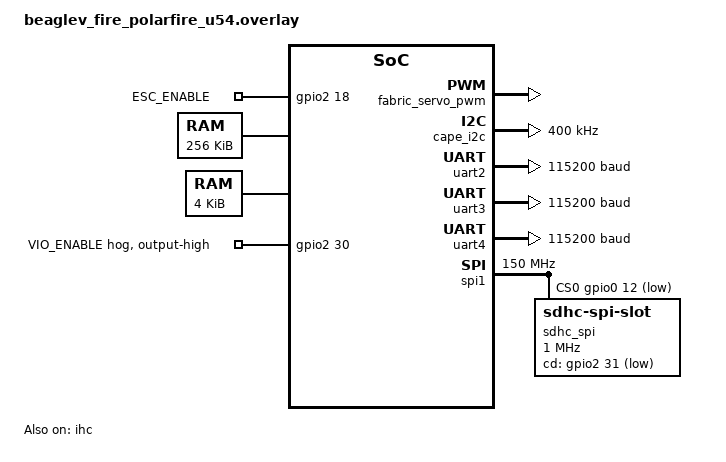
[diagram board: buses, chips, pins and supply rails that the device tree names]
/ {
	chosen {
		zephyr,console = &uart4;

		zephyr,ipc = &ihcc_h4_h1;
		zephyr,ipc_shm = &vdev0buffer;
		zephyr,ipc-rsc-table = &rsc_table_region;
	};

	aliases {
		ardupilot-serial0 = &uart2;
		ardupilot-rcinput = &uart3;
		ardupilot-gpio0 = &gpio0;
		ardupilot-gpio2 = &gpio2;
		ardupilot-i2c0 = &cape_i2c;
		ardupilot-spi1 = &spi1;
		ardupilot-pwm0 = &fabric_servo_pwm;
		ardupilot-esc-enable = &esc_enable_pin;
		sdhc0 = &sdhc_spi;
	};

	fabric_servo_pwm: servo-pwm@41000000 {
		compatible = "beaglev-fire,fabric-servo-pwm";
		reg = <0x41000000 0x20>;
		#pwm-cells = <2>;
		status = "okay";
	};

	cape_i2c: i2c@41600000 {
		compatible = "ardupilot,mpfs-corei2c";
		reg = <0x41600000 0x1000>;
		interrupt-parent = <&plic>;
		interrupts = <150 1>;        /* fabric F2M[32] -> PLIC 118+32 */
		clock-frequency = <400000>;  /* FAST -> BCLK_DIV_8 */
		#address-cells = <1>;
		#size-cells = <0>;
		status = "okay";
	};

	esc_enable_keys: esc-enable-keys {
		compatible = "gpio-keys";
		esc_enable_pin: esc_enable_pin {
			gpios = <&gpio2 18 GPIO_ACTIVE_HIGH>;
			label = "ESC_ENABLE";
		};
	};
};

&i2c0 {
	status = "disabled";
};

&i2c1 {
	status = "disabled";
};

&gpio0 {
	status = "okay";
	ngpios = <14>;
};

&gpio1 {
	status = "disabled";
};

&gpio2 {
	status = "okay";
	ngpios = <32>;

	vio_enable: vio_enable {
		gpio-hog;
		gpios = <30 GPIO_ACTIVE_HIGH>;
		output-high;
		line-name = "VIO_ENABLE";
	};
};

&uart1 {
	status = "disabled";
};

&uart2 {
	status = "okay";
	clock-frequency = <150000000>;
	current-speed = <115200>;
};

&uart3 {
	status = "okay";
	clock-frequency = <150000000>;
	current-speed = <115200>;
};

&uart4 {
	status = "okay";
	clock-frequency = <150000000>;
	current-speed = <115200>;
};

&uart0 {
	status = "disabled";
};

&spi1 {
	/* upstream microchip,mpfs-spi has no GPIO CS handling */
	compatible = "ardupilot,mpfs-mss-spi";
	status = "okay";
	clock-frequency = <150000000>;
	#address-cells = <1>;
	#size-cells = <0>;
	cs-gpios = <&gpio0 12 GPIO_ACTIVE_LOW>;

	sdhc_spi: sdhc@0 {
		compatible = "zephyr,sdhc-spi-slot";
		reg = <0>;
		status = "okay";
		spi-max-frequency = <1000000>;
		cd-gpios = <&gpio2 31 GPIO_ACTIVE_LOW>;
		mmc {
			compatible = "zephyr,sdmmc-disk";
			disk-name = "SD";
			status = "okay";
		};
	};
};


&ddr_cached_high {
	reg = <0x10 0x04000000 0x08000000>;
};

/ {
	/* rpmsg buffer pool — equals Linux vdev0buffer@91d10000 (256 KiB) */
	vdev0buffer: memory@91d10000 {
		compatible = "mmio-sram";
		device_type = "memory";
		reg = <0x91d10000 0x40000>;
	};

	rsc_table_region: memory@91d50000 {
		compatible = "mmio-sram";
		device_type = "memory";
		reg = <0x91d50000 0x1000>;
	};

	ihc: ipm@50000000 {
		compatible = "microchip,miv-ihc-rtl-v2";
		reg = <0x50000000 0x1000>;
		interrupt-parent = <&plic>;
		#address-cells = <1>;
		#size-cells = <1>;
		status = "okay";

		ihcm_h4: module@50014000 {
			reg = <0x50014000 0x100>;
			interrupts = <177 1>;   /* PLIC F2H_59, hart-4 IHC aggregator */
			#address-cells = <1>;
			#size-cells = <1>;
			status = "okay";

			ihcc_h4_h1: channel@50014200 {
				reg = <0x50014200 0x100>;  /* u54_4 -> u54_1 channel */
				status = "okay";
			};
		};
	};
};
